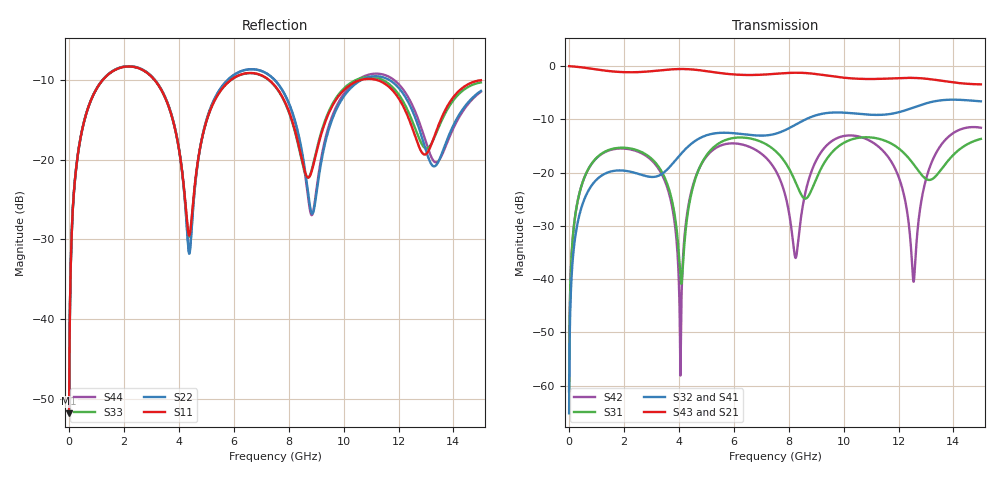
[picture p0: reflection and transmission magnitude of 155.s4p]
! Created with skrf 1.8.0 (http://scikit-rf.org).
# GHz S RI R 50.0
!freq ReS11 ImS11 ReS12 ImS12 ReS13 ImS13
! ReS14 ImS14
! ReS21 ImS21 ReS22 ImS22 ReS23 ImS23
! ReS24 ImS24
! ReS31 ImS31 ReS32 ImS32 ReS33 ImS33
! ReS34 ImS34
! ReS41 ImS41 ReS42 ImS42 ReS43 ImS43
! ReS44 ImS44
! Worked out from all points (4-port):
!   2499 points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, 5 MHz to 15 GHz, reference 50 ohm
!   strongest paths, dB at 5 MHz, 3.476 GHz, 7.19 GHz, 11.1 GHz, 15 GHz:
!     S43: 0.0, -0.7, -1.6, -2.4, -3.4
!     S21: 0.0, -0.7, -1.6, -2.4, -3.5
!     S32: -65.2, -19.9, -13.0, -9.2, -6.6
!     S41: -65.2, -19.9, -13.0, -9.2, -6.7
!     S31: -61.1, -20.8, -14.7, -13.5, -13.7
!     S42: -61.1, -21.4, -17.3, -14.5, -11.6
!   lowest |S11| = -51.9 dB at 5 MHz (marker M1), VSWR 1.01, Z = 50.2 + j0.155 ohm
!   |S11| at or under -10 dB: 3.126 GHz to 5.88 GHz (2.754 GHz wide, 61.2 % of centre); 7.3 GHz to 10.59 GHz (3.286 GHz wide, 36.7 % of centre); 11.25 GHz to 14.97 GHz (3.728 GHz wide, 28.4 % of centre) (the widest 3 of 4)
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0.005  0.00204 0.00154  0.9979 -0.00397  0.000106 0.000875  -0.000103 -0.000539
       0.9979 -0.00397  0.00204 0.00154  -0.000103 -0.000539  0.000106 0.000875
       0.000106 0.000875  -0.000103 -0.000539  0.00204 0.00154  0.9979 -0.00397
       -0.000103 -0.000539  0.000106 0.000875  0.9979 -0.00397  0.00204 0.00154
1.3193  0.285 0.1672  0.51 -0.7487  0.1466 0.0581  -0.0979 0.000979
        0.51 -0.7487  0.2867 0.1659  -0.0979 0.00104  0.1419 0.065
        0.1466 0.0581  -0.0979 0.00104  0.2849 0.1672  0.51 -0.7487
        -0.0979 0.000979  0.1419 0.065  0.51 -0.7487  0.2867 0.1659
4.051688  0.0535 -0.089  -0.8871 -0.3057  -0.00878 -0.00672  -0.0437 0.1405
          -0.8871 -0.3057  0.0463 -0.0931  -0.0429 0.1408  -0.00105 -0.00121
          -0.00878 -0.00672  -0.0429 0.1408  0.0532 -0.089  -0.8872 -0.3056
          -0.0437 0.1405  -0.00105 -0.00121  -0.8872 -0.3056  0.0466 -0.093
5.095873  0.1324 0.1431  -0.8014 0.3849  0.1214 0.0971  0.1287 0.1872
          -0.8014 0.3849  0.1309 0.1494  0.1298 0.1868  0.1028 0.1102
          0.1214 0.0971  0.1298 0.1868  0.1316 0.1434  -0.8013 0.385
          0.1287 0.1872  0.1028 0.1102  -0.8013 0.385  0.1318 0.1492
8.828679  0.0804 0.0236  0.842 0.1267  -0.0303 0.0611  0.0415 -0.3309
          0.842 0.1267  0.0451 -0.0117  0.0379 -0.3312  0.0429 0.0929
          -0.0303 0.0611  0.0379 -0.3312  0.0804 0.0284  0.8421 0.1246
          0.0415 -0.3309  0.0429 0.0929  0.8421 0.1246  0.0446 -0.00651
12.54898  0.1346 -0.0669  -0.5633 -0.5358  -0.0821 -0.0874  -0.2771 0.2988
          -0.5633 -0.5358  0.153 -0.1214  -0.2726 0.3044  -0.00923 -0.00191
          -0.0821 -0.0874  -0.2726 0.3044  0.1487 -0.0764  -0.5576 -0.537
          -0.2771 0.2988  -0.00923 -0.00191  -0.5576 -0.537  0.1642 -0.1342
15  0.3159 0.0223  -0.4141 0.5276  0.1999 -0.0536  0.411 0.2156
    -0.4141 0.5276  0.2623 0.0686  0.4173 0.2086  0.2612 -0.0347
    0.1999 -0.0536  0.4173 0.2086  0.3058 0.0204  -0.4163 0.5293
    0.411 0.2156  0.2612 -0.0347  -0.4163 0.5293  0.2612 0.0603
